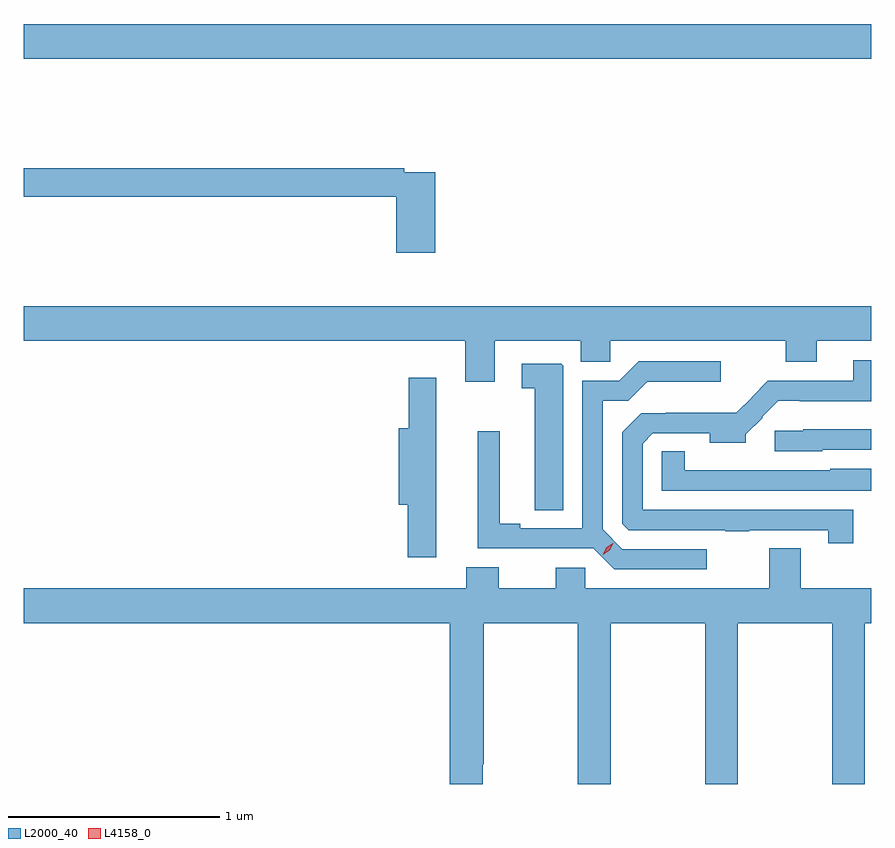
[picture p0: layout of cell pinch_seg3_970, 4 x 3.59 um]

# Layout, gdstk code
import gdstk
lib = gdstk.Library(unit=1e-6, precision=1e-09)
def R(c, l, rs):  # rectangles x0, y0, x1, y1
    for r in rs: c.add(gdstk.rectangle(r[:2], r[2:], *l))
def P(c, l, *ps):  # polygons
    for p in ps: c.add(gdstk.Polygon(p, *l))
L2000_40 = (2000, 40)
L4158_0 = (4158, 0)

pinch_seg3_970 = lib.new_cell('pinch_seg3_970')
R(pinch_seg3_970, L2000_40, [(479.923,722.228,483.923,722.392)])
P(pinch_seg3_970, L2000_40, [(481.865,721.692),(481.718,721.692),(481.718,721.712),(479.923,721.712),(479.923,721.576),(481.682,721.576),(481.682,721.311),(481.865,721.311)],
  [(482.146,720.896),(482.552,720.896),(482.552,720.798),(482.691,720.798),(482.691,720.896),(483.52,720.896),(483.52,720.797),(483.667,720.797),(483.667,720.896),(483.923,720.896),(483.923,721.06),(479.923,721.06),(479.923,720.896),(482.006,720.896),(482.006,720.702),(482.146,720.702)],
  [(483.839,720.099),(482.844,720.099),(482.844,720.411),(482.892,720.459),(483.161,720.459),(483.161,720.416),(483.332,720.416),(483.332,720.456),(483.411,720.534),(483.408,720.537),(483.485,720.614),(483.586,720.614),(483.586,720.611),(483.923,720.611),(483.923,720.804),(483.839,720.804),(483.839,720.708),(483.435,720.708),(483.359,720.631),(483.361,720.629),(483.287,720.556),(482.953,720.556),(482.953,720.554),(482.837,720.554),(482.748,720.465),(482.748,720.033),(482.778,720.003),(483.235,720.003),(483.235,719.998),(483.347,719.998),(483.347,720.003),(483.721,720.003),(483.721,719.94),(483.839,719.94)],
  [(483.148,719.913),(482.748,719.913),(482.655,720.006),(482.655,720.613),(482.776,720.613),(482.867,720.704),(483.214,720.704),(483.214,720.801),(482.826,720.801),(482.733,720.708),(482.559,720.708),(482.559,720.012),(482.266,720.012),(482.266,720.032),(482.17,720.032),(482.17,720.469),(482.066,720.469),(482.066,719.916),(482.612,719.916),(482.711,719.817),(483.148,719.817)],
  [(482.47,720.779),(482.46,720.789),(482.274,720.789),(482.274,720.673),(482.336,720.673),(482.336,720.097),(482.47,720.097)],
  [(481.87,720.721),(481.739,720.721),(481.739,720.484),(481.694,720.484),(481.694,720.122),(481.736,720.122),(481.736,719.874),(481.87,719.874)],
  [(483.693,720.381),(483.923,720.381),(483.923,720.478),(483.603,720.478),(483.603,720.471),(483.468,720.471),(483.468,720.375),(483.693,720.375)],
  [(483.923,720.292),(483.729,720.292),(483.729,720.285),(483.297,720.285),(483.297,720.286),(483.043,720.286),(483.043,720.374),(482.934,720.374),(482.934,720.189),(483.923,720.189)],
  [(482.089,718.897),(482.094,718.897),(482.094,719.564),(482.539,719.564),(482.539,718.804),(482.694,718.804),(482.694,719.564),(483.139,719.564),(483.139,718.804),(483.294,718.804),(483.294,719.564),(483.739,719.564),(483.739,718.804),(483.894,718.804),(483.894,719.564),(483.923,719.564),(483.923,719.728),(483.591,719.728),(483.591,719.918),(483.443,719.918),(483.443,719.728),(482.574,719.728),(482.574,719.826),(482.435,719.826),(482.435,719.728),(482.164,719.728),(482.164,719.827),(482.012,719.827),(482.012,719.728),(479.923,719.728),(479.923,719.564),(481.934,719.564),(481.934,718.804),(482.089,718.804)])
P(pinch_seg3_970, L4158_0, [(482.656,719.887),(482.656,719.887),(482.673,719.92),(482.704,719.94),(482.705,719.94),(482.705,719.94),(482.688,719.907),(482.656,719.887)])

lib.write_gds('pinch_seg3_970.gds')
